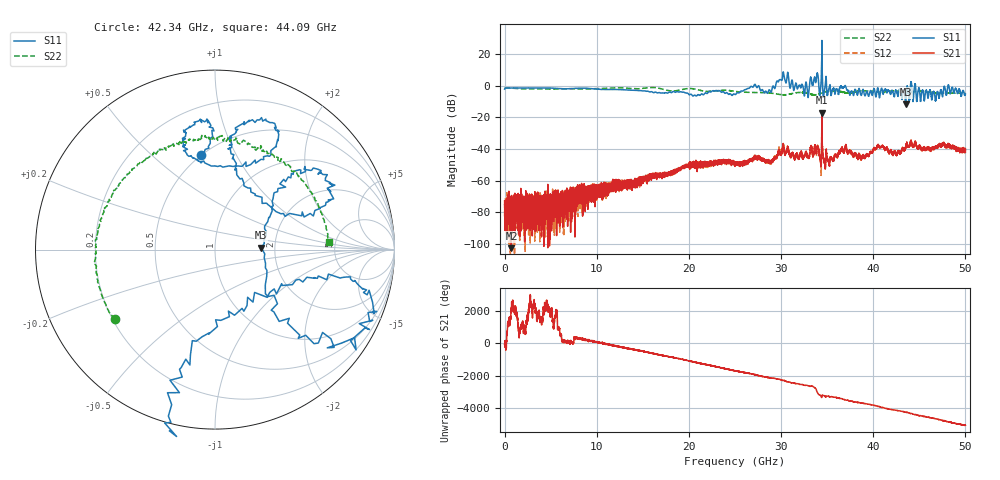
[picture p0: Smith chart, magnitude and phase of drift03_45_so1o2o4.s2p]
!Created with skrf (http://scikit-rf.org).
# Hz S RI R 50.0
!freq ReS11 ImS11 ReS21 ImS21 ReS12 ImS12 ReS22 ImS22
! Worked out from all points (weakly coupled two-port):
!   10000 points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, 5.3 MHz to 50 GHz, reference 50 ohm
!   highest |S21| = -17.03 dB at 34.43 GHz (marker M1); lowest = -102.7 dB at 745.3 MHz (marker M2)
!   lowest |S11| = -11.8 dB at 43.52 GHz (marker M3), VSWR 1.69, Z = 84.6 + j1.88 ohm
!   |S11| at or under -10 dB: 43.48811 GHz to 43.54685 GHz (58.74 MHz wide, 0.135 % of centre)
!   |S22| runs from -5.8 to -1.1 dB; largest |S21 - S12| = 0.03
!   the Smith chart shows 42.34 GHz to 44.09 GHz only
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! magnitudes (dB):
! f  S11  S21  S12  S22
! 5.3 MHz  -2.1  -74.9  -72.2  -1.3
! 745.3 MHz  -1.4  -102.7  -75.2  -1.5
! 4.96 GHz  -1.4  -78.4  -73.8  -2.1
! 8.34 GHz  -1.5  -69.8  -68.8  -2.1
! 16.67 GHz  -4.4  -56.2  -56.8  -1.5
! 20.34 GHz  -6.0  -50.0  -49.4  -1.8
! 25.01 GHz  -5.5  -49.5  -49.2  -3.5
! 27.02 GHz  -0.3  -46.4  -45.8  -4.2
! 28.72 GHz  -2.5  -48.2  -48.8  -4.5
! 30.14 GHz  4.4  -40.6  -40.3  -5.7
! 32.74 GHz  2.0  -42.2  -41.6  -4.6
! 33.34 GHz  2.5  -39.8  -40.6  -5.6
! 33.82 GHz  4.0  -42.2  -42.0  -5.7
! 34.43 GHz  28.6  -17.0  -18.7  -4.6
! 35.29 GHz  0.6  -48.7  -47.3  -3.3
! 36.84 GHz  -0.7  -42.6  -41.3  -4.2
! 38.87 GHz  -2.4  -44.5  -44.1  -3.2
! 40.62 GHz  -5.3  -38.1  -38.7  -4.0
! 41.67 GHz  -3.0  -41.9  -42.4  -3.3
! 43.52 GHz  -11.8  -38.6  -38.9  -4.0
! 47.53 GHz  -6.9  -38.0  -37.7  -4.7
! 50 GHz  -5.2  -41.9  -40.4  -4.5
